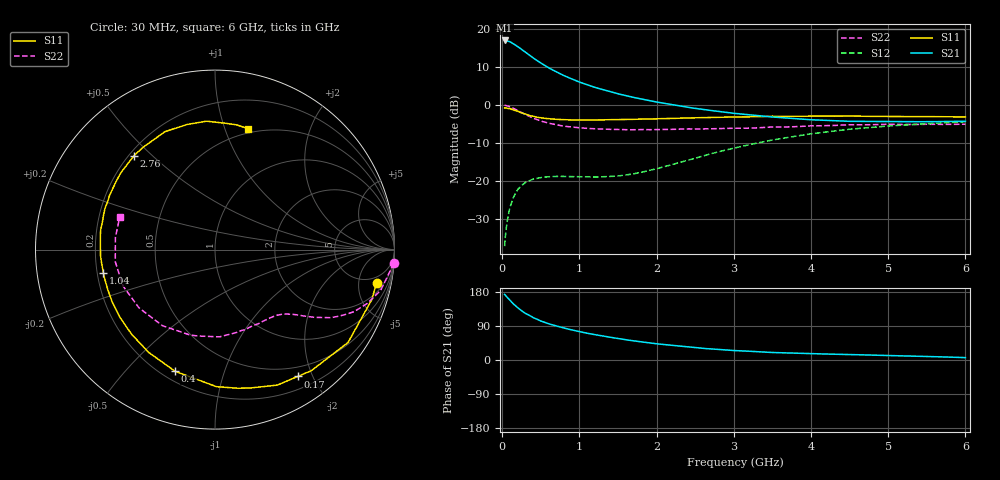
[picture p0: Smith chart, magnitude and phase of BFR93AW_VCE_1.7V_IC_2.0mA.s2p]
! Infineon Technologies  Discrete & RF Semiconductors
! BFR93AW
! VCE =  1.7 V,  IC =  2.0 mA
! Common Emitter S-Parameters:  Nov 2015
# GHz  S  MA  R  50
!  f  S11  S21  S12  S22
! GHz  MAG  ANG  MAG  ANG  MAG  ANG  MAG  ANG
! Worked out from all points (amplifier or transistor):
!   206 points, 30 MHz to 6 GHz, reference 50 ohm
!   highest |S21| = 17.0 dB at 30 MHz (marker M1)
!   |S21| within 3 dB of that: start of sweep to 293.6 MHz
!   unconditionally stable (mu >= 1): 1.205 GHz to 2.54 GHz; 5.588 GHz to end of sweep
!   at 200 MHz: K = 0.16, MSG = 18.8 dB, |S12| = -22.2 dB
!   at 1.56 GHz: K = 1.17, MAG = 8.1 dB, |S12| = -18.5 dB
!   at 6 GHz: K = 1.01, MAG = -0.5 dB, |S12| = -4.4 dB
!   S11 on the Smith chart (normalised r, x): 30 MHz: 3.52, -8.39; 170 MHz: 0.36, -1.79; 400 MHz: 0.25, -0.69; 1.04 GHz: 0.23, -0.10; 2.76 GHz: 0.22, +0.44; 6 GHz: 0.46, +1.21
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0.03  0.9192 -11.6  7.052 173.1  0.014 82.0  0.9974 -4.3
0.055  0.9121 -19.4  6.962 167.3  0.0256 77.8  0.9786 -7.7
0.1  0.904 -34.9  6.791 157.3  0.0454 71.3  0.9506 -13.8
0.15  0.862 -51.5  6.344 146.7  0.0629 62.3  0.9008 -19.4
0.17  0.8437 -56.9  6.14 143.3  0.0686 59.3  0.8795 -21.2
0.2  0.831 -65.3  5.878 137.9  0.0775 55.7  0.8493 -24.0
0.26  0.7836 -80.4  5.289 128.5  0.0893 48.6  0.7861 -28.1
0.3  0.7637 -89.4  4.939 123.0  0.0962 45.3  0.7496 -30.4
0.4  0.7136 -108.1  4.146 111.8  0.1064 38.3  0.6718 -34.2
0.5  0.6817 -122.8  3.558 102.8  0.1118 33.7  0.6153 -36.9
0.6  0.6622 -134.5  3.08 95.7  0.1145 31.0  0.5779 -38.8
0.7  0.6505 -144.3  2.728 89.7  0.1156 29.8  0.5504 -40.8
0.8  0.6431 -152.8  2.432 84.1  0.1155 29.1  0.5271 -42.9
1.04  0.6352 -168.2  1.939 73.2  0.1143 30.8  0.4987 -47.8
1.2  0.6387 -176.9  1.705 66.8  0.1132 33.8  0.4881 -51.7
1.5  0.6464 170.5  1.404 56.7  0.117 42.4  0.4785 -59.8
2.02  0.6612 152.0  1.086 42.3  0.1474 57.2  0.4771 -75.6
2.76  0.6897 131.0  0.835 28.4  0.2372 63.9  0.4892 -99.6
3.1  0.6977 122.4  0.762 24.1  0.2861 62.0  0.4957 -110.4
4.1  0.7135 100.8  0.635 16.2  0.4306 49.6  0.5337 -145.7
5.1  0.7063 85.2  0.604 11.4  0.5375 34.3  0.5569 -175.7
6  0.6986 74.6  0.612 6.3  0.6028 22.1  0.5609 161.3
